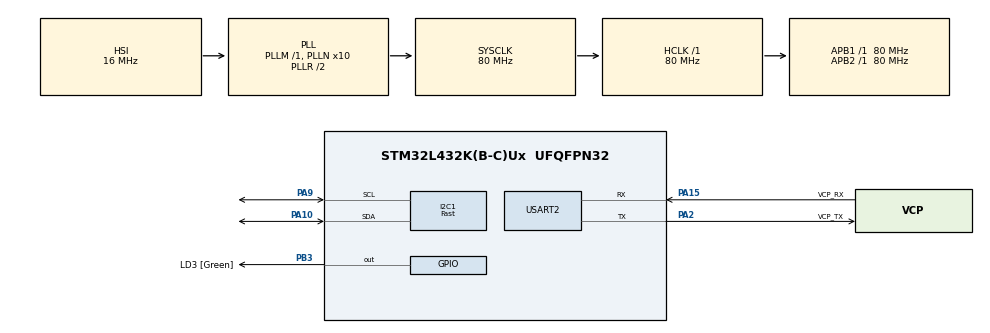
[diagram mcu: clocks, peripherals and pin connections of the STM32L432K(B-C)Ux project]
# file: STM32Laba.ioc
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I2C1.I2C_Speed_Mode=I2C_Fast
I2C1.Timing=0x00702991
Mcu.Family=STM32L4
Mcu.Name=STM32L432K(B-C)Ux
Mcu.Package=UFQFPN32
NVIC.I2C1_ER_IRQn=true\:0\:0\:false\:false\:true\:true\:true\:true
NVIC.I2C1_EV_IRQn=true\:0\:0\:false\:false\:true\:true\:true\:true
NVIC.PriorityGroup=NVIC_PRIORITYGROUP_4
PA0.GPIO_Label=MCO [High speed clock in]
PA0.Mode=HSE-External-Clock-Source-for-LittleOrca
PA0.Signal=RCC_CK_IN
PA10.GPIO_Pu=GPIO_PULLUP
PA10.Mode=I2C
PA10.Signal=I2C1_SDA
PA13\ (JTMS-SWDIO).GPIO_Label=SWDIO
PA13\ (JTMS-SWDIO).Mode=Serial_Wire
PA13\ (JTMS-SWDIO).Signal=SYS_JTMS-SWDIO
PA14\ (JTCK-SWCLK).GPIO_Label=SWCLK
PA14\ (JTCK-SWCLK).Mode=Serial_Wire
PA14\ (JTCK-SWCLK).Signal=SYS_JTCK-SWCLK
PA15\ (JTDI).GPIO_Label=VCP_RX
PA15\ (JTDI).Mode=Asynchronous
PA15\ (JTDI).Signal=USART2_RX
PA2.GPIO_Label=VCP_TX
PA2.Mode=Asynchronous
PA2.Signal=USART2_TX
PA9.GPIO_Pu=GPIO_PULLUP
PA9.Mode=I2C
PA9.Signal=I2C1_SCL
PB3\ (JTDO-TRACESWO).GPIO_Label=LD3 [Green]
PB3\ (JTDO-TRACESWO).Signal=GPIO_Output
PC14-OSC32_IN\ (PC14).Mode=LSE-External-Oscillator
PC14-OSC32_IN\ (PC14).Signal=RCC_OSC32_IN
PC15-OSC32_OUT\ (PC15).Mode=LSE-External-Oscillator
PC15-OSC32_OUT\ (PC15).Signal=RCC_OSC32_OUT
ProjectManager.HeapSize=0x200
ProjectManager.StackSize=0x400
ProjectManager.TargetToolchain=STM32CubeIDE
RCC.ADCFreq_Value=64000000
RCC.AHBFreq_Value=80000000
RCC.APB1Freq_Value=80000000
RCC.APB1TimFreq_Value=80000000
RCC.APB2Freq_Value=80000000
RCC.APB2TimFreq_Value=80000000
RCC.CortexFreq_Value=80000000
RCC.HCLKFreq_Value=80000000
RCC.HSE_VALUE=8000000
RCC.HSI16_VALUE=16000000
RCC.HSI48_VALUE=48000000
RCC.HSI_VALUE=16000000
RCC.MSI_VALUE=4000000
RCC.PLLMUL=RCC_PLLMUL_4
RCC.PLLN=10
RCC.PLLSourceVirtual=RCC_PLLSOURCE_HSI
RCC.SYSCLKFreq_VALUE=80000000
RCC.SYSCLKSource=RCC_SYSCLKSOURCE_PLLCLK
RCC.USBFreq_Value=64000000
RCC.VCOOutputFreq_Value=160000000
USART2.VirtualMode-Asynchronous=VM_ASYNC
board=NUCLEO-L432KC

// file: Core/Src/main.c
/* USER CODE BEGIN Header */
/**
  ******************************************************************************
  * @file           : main.c
  * @brief          : Main program body
  ******************************************************************************
  * @attention
  *
  * Copyright (c) 2023 STMicroelectronics.
  * All rights reserved.
  *
  * This software is licensed under terms that can be found in the LICENSE file
  * in the root directory of this software component.
  * If no LICENSE file comes with this software, it is provided AS-IS.
  *
  ******************************************************************************
  */
/* USER CODE END Header */
#include "main.h"
#include "i2c.h"
#include "usart.h"
#include "gpio.h"

/* USER CODE BEGIN Includes */
	#include "mpu6050.h"

/* USER CODE END Includes */

/* USER CODE BEGIN PV */
MPU6050_t MPU6050;
/* USER CODE END PV */

void SystemClock_Config(void);

int main(void)
{

  /* MCU Configuration--------------------------------------------------------*/

  /* Reset of all peripherals, Initializes the Flash interface and the Systick. */
  HAL_Init();

  /* Configure the system clock */
  SystemClock_Config();

  /* Initialize all configured peripherals */
  MX_GPIO_Init();
  MX_I2C1_Init();
  MX_USART2_UART_Init();
  /* USER CODE BEGIN 2 */
  while (MPU6050_Init(&hi2c1) == 1);
  /* USER CODE END 2 */

  /* Infinite loop */
  /* USER CODE BEGIN WHILE */
  char str[12];
  while (1)
  {
    /* USER CODE END WHILE */

    /* USER CODE BEGIN 3 */
	  MPU6050_Read_All(&hi2c1, &MPU6050);
	  HAL_Delay(20);

	  sprintf(str, "%9.6f", MPU6050.Ax);
	  str[9]=44; // ,
	  HAL_UART_Transmit(&huart2, str, 10 , 1);
	  sprintf(str, "%9.6f", MPU6050.Ay);
	  str[9]=44; // ,
	  HAL_UART_Transmit(&huart2, str, 10 , 1);
	  sprintf(str, "%9.6f", MPU6050.Az);
	  str[9]=44; // ,
	  HAL_UART_Transmit(&huart2, str, 10 , 1);

	  sprintf(str, "%9.6f", MPU6050.Gx);
	  str[9]=44; // ,
	  HAL_UART_Transmit(&huart2, str, 10 , 1);
	  sprintf(str, "%9.6f", MPU6050.Gy);
	  str[9]=44; // ,
	  HAL_UART_Transmit(&huart2, str, 10 , 1);
	  sprintf(str, "%9.6f", MPU6050.Gz);
	  str[9]=44; // ,
	  HAL_UART_Transmit(&huart2, str, 10 , 1);

	  sprintf(str, "%9.6f", MPU6050.KalmanAngleX);
	  str[9]=44; // ,
	  HAL_UART_Transmit(&huart2, str, 10 , 1);
	  sprintf(str, "%9.6f", MPU6050.KalmanAngleY);
	  str[9]=44; // ,
	  HAL_UART_Transmit(&huart2, str, 10 , 1);
	  sprintf(str, "%9.6f", MPU6050.KalmanAngleZ);
	  str[9]=59; // ;
	  str[10]=13; // CR
	  str[11]=10; // LF
	  HAL_UART_Transmit(&huart2, str, 12 , 1);
  }
  /* USER CODE END 3 */
}

void SystemClock_Config(void)
{
  RCC_OscInitTypeDef RCC_OscInitStruct = {0};
  RCC_ClkInitTypeDef RCC_ClkInitStruct = {0};

  /** Configure the main internal regulator output voltage
  */
  if (HAL_PWREx_ControlVoltageScaling(PWR_REGULATOR_VOLTAGE_SCALE1) != HAL_OK)
  {
    Error_Handler();
  }

  /** Initializes the RCC Oscillators according to the specified parameters
  * in the RCC_OscInitTypeDef structure.
  */
  RCC_OscInitStruct.OscillatorType = RCC_OSCILLATORTYPE_HSI;
  RCC_OscInitStruct.HSIState = RCC_HSI_ON;
  RCC_OscInitStruct.HSICalibrationValue = RCC_HSICALIBRATION_DEFAULT;
  RCC_OscInitStruct.PLL.PLLState = RCC_PLL_ON;
  RCC_OscInitStruct.PLL.PLLSource = RCC_PLLSOURCE_HSI;
  RCC_OscInitStruct.PLL.PLLM = 1;
  RCC_OscInitStruct.PLL.PLLN = 10;
  RCC_OscInitStruct.PLL.PLLP = RCC_PLLP_DIV7;
  RCC_OscInitStruct.PLL.PLLQ = RCC_PLLQ_DIV2;
  RCC_OscInitStruct.PLL.PLLR = RCC_PLLR_DIV2;
  if (HAL_RCC_OscConfig(&RCC_OscInitStruct) != HAL_OK)
  {
    Error_Handler();
  }

  /** Initializes the CPU, AHB and APB buses clocks
  */
  RCC_ClkInitStruct.ClockType = RCC_CLOCKTYPE_HCLK|RCC_CLOCKTYPE_SYSCLK
                              |RCC_CLOCKTYPE_PCLK1|RCC_CLOCKTYPE_PCLK2;
  RCC_ClkInitStruct.SYSCLKSource = RCC_SYSCLKSOURCE_PLLCLK;
  RCC_ClkInitStruct.AHBCLKDivider = RCC_SYSCLK_DIV1;
  RCC_ClkInitStruct.APB1CLKDivider = RCC_HCLK_DIV1;
  RCC_ClkInitStruct.APB2CLKDivider = RCC_HCLK_DIV1;

  if (HAL_RCC_ClockConfig(&RCC_ClkInitStruct, FLASH_LATENCY_4) != HAL_OK)
  {
    Error_Handler();
  }
}

void Error_Handler(void)
{
  __disable_irq();
  while (1)
  {
  }
}
